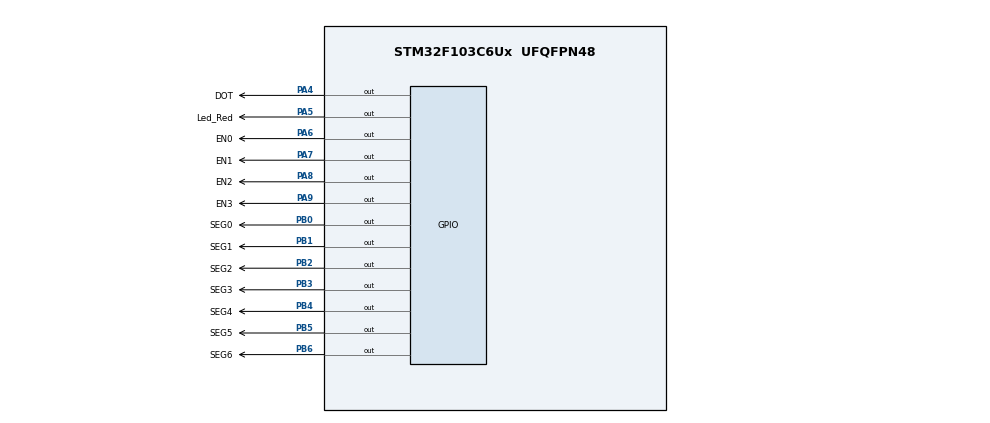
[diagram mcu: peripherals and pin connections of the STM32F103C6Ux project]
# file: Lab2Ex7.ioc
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Mcu.Family=STM32F1
Mcu.Name=STM32F103C6Ux
Mcu.Package=UFQFPN48
NVIC.PriorityGroup=NVIC_PRIORITYGROUP_4
NVIC.TIM2_IRQn=true\:0\:0\:false\:false\:true\:true\:true
PA4.GPIO_Label=DOT
PA4.Signal=GPIO_Output
PA5.GPIO_Label=Led_Red
PA5.Signal=GPIO_Output
PA6.GPIO_Label=EN0
PA6.Signal=GPIO_Output
PA7.GPIO_Label=EN1
PA7.Signal=GPIO_Output
PA8.GPIO_Label=EN2
PA8.Signal=GPIO_Output
PA9.GPIO_Label=EN3
PA9.Signal=GPIO_Output
PB0.GPIO_Label=SEG0
PB0.Signal=GPIO_Output
PB1.GPIO_Label=SEG1
PB1.Signal=GPIO_Output
PB2.GPIO_Label=SEG2
PB2.Signal=GPIO_Output
PB3.GPIO_Label=SEG3
PB3.Signal=GPIO_Output
PB4.GPIO_Label=SEG4
PB4.Signal=GPIO_Output
PB5.GPIO_Label=SEG5
PB5.Signal=GPIO_Output
PB6.GPIO_Label=SEG6
PB6.Signal=GPIO_Output
ProjectManager.HeapSize=0x200
ProjectManager.StackSize=0x400
ProjectManager.TargetToolchain=STM32CubeIDE
RCC.APB1Freq_Value=8000000
RCC.APB2Freq_Value=8000000
TIM2.Period=9
TIM2.Prescaler=7999
VP_SYS_VS_ND.Mode=No_Debug
VP_TIM2_VS_ClockSourceINT.Mode=Internal
board=custom

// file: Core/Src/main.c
/* USER CODE BEGIN Header */
/**
  ******************************************************************************
  * @file           : main.c
  * @brief          : Main program body
  ******************************************************************************
  * @attention
  *
  * <h2><center>&copy; Copyright (c) 2026 STMicroelectronics.
  * All rights reserved.</center></h2>
  *
  * This software component is licensed by ST under BSD 3-Clause license,
  * the "License"; You may not use this file except in compliance with the
  * License. You may obtain a copy of the License at:
  *                        opensource.org/licenses/BSD-3-Clause
  *
  ******************************************************************************
  */
/* USER CODE END Header */
#include "main.h"

TIM_HandleTypeDef htim2;

void SystemClock_Config(void);
static void MX_GPIO_Init(void);
static void MX_TIM2_Init(void);

/* USER CODE BEGIN 0 */
void display7SEG(int num)
{
    switch (num)
    {
    case 0:
        HAL_GPIO_WritePin(GPIOB, SEG0_Pin, GPIO_PIN_RESET);
        HAL_GPIO_WritePin(GPIOB, SEG1_Pin, GPIO_PIN_RESET);
        HAL_GPIO_WritePin(GPIOB, SEG2_Pin, GPIO_PIN_RESET);
        HAL_GPIO_WritePin(GPIOB, SEG3_Pin, GPIO_PIN_RESET);
        HAL_GPIO_WritePin(GPIOB, SEG4_Pin, GPIO_PIN_RESET);
        HAL_GPIO_WritePin(GPIOB, SEG5_Pin, GPIO_PIN_RESET);
        HAL_GPIO_WritePin(GPIOB, SEG6_Pin, GPIO_PIN_SET);
        break;

    case 1:
        HAL_GPIO_WritePin(GPIOB, SEG0_Pin, GPIO_PIN_SET);
        HAL_GPIO_WritePin(GPIOB, SEG1_Pin, GPIO_PIN_RESET);
        HAL_GPIO_WritePin(GPIOB, SEG2_Pin, GPIO_PIN_RESET);
        HAL_GPIO_WritePin(GPIOB, SEG3_Pin, GPIO_PIN_SET);
        HAL_GPIO_WritePin(GPIOB, SEG4_Pin, GPIO_PIN_SET);
        HAL_GPIO_WritePin(GPIOB, SEG5_Pin, GPIO_PIN_SET);
        HAL_GPIO_WritePin(GPIOB, SEG6_Pin, GPIO_PIN_SET);
        break;

    case 2:
        HAL_GPIO_WritePin(GPIOB, SEG0_Pin, GPIO_PIN_RESET);
        HAL_GPIO_WritePin(GPIOB, SEG1_Pin, GPIO_PIN_RESET);
        HAL_GPIO_WritePin(GPIOB, SEG2_Pin, GPIO_PIN_SET);
        HAL_GPIO_WritePin(GPIOB, SEG3_Pin, GPIO_PIN_RESET);
        HAL_GPIO_WritePin(GPIOB, SEG4_Pin, GPIO_PIN_RESET);
        HAL_GPIO_WritePin(GPIOB, SEG5_Pin, GPIO_PIN_SET);
        HAL_GPIO_WritePin(GPIOB, SEG6_Pin, GPIO_PIN_RESET);
        break;

    case 3:
        HAL_GPIO_WritePin(GPIOB, SEG0_Pin, GPIO_PIN_RESET);
        HAL_GPIO_WritePin(GPIOB, SEG1_Pin, GPIO_PIN_RESET);
        HAL_GPIO_WritePin(GPIOB, SEG2_Pin, GPIO_PIN_RESET);
        HAL_GPIO_WritePin(GPIOB, SEG3_Pin, GPIO_PIN_RESET);
        HAL_GPIO_WritePin(GPIOB, SEG4_Pin, GPIO_PIN_SET);
        HAL_GPIO_WritePin(GPIOB, SEG5_Pin, GPIO_PIN_SET);
        HAL_GPIO_WritePin(GPIOB, SEG6_Pin, GPIO_PIN_RESET);
        break;

    case 4:
        HAL_GPIO_WritePin(GPIOB, SEG0_Pin, GPIO_PIN_SET);
        HAL_GPIO_WritePin(GPIOB, SEG1_Pin, GPIO_PIN_RESET);
        HAL_GPIO_WritePin(GPIOB, SEG2_Pin, GPIO_PIN_RESET);
        HAL_GPIO_WritePin(GPIOB, SEG3_Pin, GPIO_PIN_SET);
        HAL_GPIO_WritePin(GPIOB, SEG4_Pin, GPIO_PIN_SET);
        HAL_GPIO_WritePin(GPIOB, SEG5_Pin, GPIO_PIN_RESET);
        HAL_GPIO_WritePin(GPIOB, SEG6_Pin, GPIO_PIN_RESET);
        break;

    case 5:
        HAL_GPIO_WritePin(GPIOB, SEG0_Pin, GPIO_PIN_RESET);
        HAL_GPIO_WritePin(GPIOB, SEG1_Pin, GPIO_PIN_SET);
        HAL_GPIO_WritePin(GPIOB, SEG2_Pin, GPIO_PIN_RESET);
        HAL_GPIO_WritePin(GPIOB, SEG3_Pin, GPIO_PIN_RESET);
        HAL_GPIO_WritePin(GPIOB, SEG4_Pin, GPIO_PIN_SET);
        HAL_GPIO_WritePin(GPIOB, SEG5_Pin, GPIO_PIN_RESET);
        HAL_GPIO_WritePin(GPIOB, SEG6_Pin, GPIO_PIN_RESET);
        break;

    case 6:
        HAL_GPIO_WritePin(GPIOB, SEG0_Pin, GPIO_PIN_RESET);
        HAL_GPIO_WritePin(GPIOB, SEG1_Pin, GPIO_PIN_SET);
        HAL_GPIO_WritePin(GPIOB, SEG2_Pin, GPIO_PIN_RESET);
        HAL_GPIO_WritePin(GPIOB, SEG3_Pin, GPIO_PIN_RESET);
        HAL_GPIO_WritePin(GPIOB, SEG4_Pin, GPIO_PIN_RESET);
        HAL_GPIO_WritePin(GPIOB, SEG5_Pin, GPIO_PIN_RESET);
        HAL_GPIO_WritePin(GPIOB, SEG6_Pin, GPIO_PIN_RESET);
        break;

    case 7:
        HAL_GPIO_WritePin(GPIOB, SEG0_Pin, GPIO_PIN_RESET);
        HAL_GPIO_WritePin(GPIOB, SEG1_Pin, GPIO_PIN_RESET);
        HAL_GPIO_WritePin(GPIOB, SEG2_Pin, GPIO_PIN_RESET);
        HAL_GPIO_WritePin(GPIOB, SEG3_Pin, GPIO_PIN_SET);
        HAL_GPIO_WritePin(GPIOB, SEG4_Pin, GPIO_PIN_SET);
        HAL_GPIO_WritePin(GPIOB, SEG5_Pin, GPIO_PIN_SET);
        HAL_GPIO_WritePin(GPIOB, SEG6_Pin, GPIO_PIN_SET);
        break;

    case 8:
        HAL_GPIO_WritePin(GPIOB, SEG0_Pin, GPIO_PIN_RESET);
        HAL_GPIO_WritePin(GPIOB, SEG1_Pin, GPIO_PIN_RESET);
        HAL_GPIO_WritePin(GPIOB, SEG2_Pin, GPIO_PIN_RESET);
        HAL_GPIO_WritePin(GPIOB, SEG3_Pin, GPIO_PIN_RESET);
        HAL_GPIO_WritePin(GPIOB, SEG4_Pin, GPIO_PIN_RESET);
        HAL_GPIO_WritePin(GPIOB, SEG5_Pin, GPIO_PIN_RESET);
        HAL_GPIO_WritePin(GPIOB, SEG6_Pin, GPIO_PIN_RESET);
        break;

    case 9:
        HAL_GPIO_WritePin(GPIOB, SEG0_Pin, GPIO_PIN_RESET);
        HAL_GPIO_WritePin(GPIOB, SEG1_Pin, GPIO_PIN_RESET);
        HAL_GPIO_WritePin(GPIOB, SEG2_Pin, GPIO_PIN_RESET);
        HAL_GPIO_WritePin(GPIOB, SEG3_Pin, GPIO_PIN_RESET);
        HAL_GPIO_WritePin(GPIOB, SEG4_Pin, GPIO_PIN_SET);
        HAL_GPIO_WritePin(GPIOB, SEG5_Pin, GPIO_PIN_RESET);
        HAL_GPIO_WritePin(GPIOB, SEG6_Pin, GPIO_PIN_RESET);
        break;
    }
}
const int MAX_LED = 4;

int index_led = 0;

int led_buffer[4] = {1, 2, 3, 4};
void update7SEG(int index)
{
    // Turn off all 4 displays first
    HAL_GPIO_WritePin(GPIOA, EN0_Pin, GPIO_PIN_SET);
    HAL_GPIO_WritePin(GPIOA, EN1_Pin, GPIO_PIN_SET);
    HAL_GPIO_WritePin(GPIOA, EN2_Pin, GPIO_PIN_SET);
    HAL_GPIO_WritePin(GPIOA, EN3_Pin, GPIO_PIN_SET);

    switch (index)
    {
        case 0:
            display7SEG(led_buffer[0]);
            HAL_GPIO_WritePin(GPIOA, EN0_Pin, GPIO_PIN_RESET);
            break;

        case 1:
            display7SEG(led_buffer[1]);
            HAL_GPIO_WritePin(GPIOA, EN1_Pin, GPIO_PIN_RESET);
            break;

        case 2:
            display7SEG(led_buffer[2]);
            HAL_GPIO_WritePin(GPIOA, EN2_Pin, GPIO_PIN_RESET);
            break;

        case 3:
            display7SEG(led_buffer[3]);
            HAL_GPIO_WritePin(GPIOA, EN3_Pin, GPIO_PIN_RESET);
            break;

        default:
            break;
    }
}

int hour = 15, minute = 8, second = 50;

void updateClockBuffer(void)
{
    led_buffer[0] = hour / 10;
    led_buffer[1] = hour % 10;
    led_buffer[2] = minute / 10;
    led_buffer[3] = minute % 10;
}

int timer0_counter = 0;
int timer0_flag = 0;
int TIMER_CYCLE = 10;

void setTimer0(int duration)
{
    timer0_counter = duration / TIMER_CYCLE;
    timer0_flag = 0;
}

void timer_run()
{
    if (timer0_counter > 0)
    {
        timer0_counter--;

        if (timer0_counter == 0)
            timer0_flag = 1;
    }
}
/* USER CODE END 0 */

int main(void)
{

  /* MCU Configuration--------------------------------------------------------*/

  /* Reset of all peripherals, Initializes the Flash interface and the Systick. */
  HAL_Init();

  /* Configure the system clock */
  SystemClock_Config();

  /* Initialize all configured peripherals */
  MX_GPIO_Init();
  MX_TIM2_Init();
  /* USER CODE BEGIN 2 */
  HAL_TIM_Base_Start_IT(&htim2);
  /* USER CODE END 2 */

  /* Infinite loop */
  /* USER CODE BEGIN WHILE */
  setTimer0(1000);
  while (1)
  {
	  if (timer0_flag == 1)
	  {
		  second++;

		  if (second >= 60)
		  {
			  second = 0;
			  minute++;
		  }

		  if (minute >= 60)
		  {
			  minute = 0;
			  hour++;
		  }

		  if (hour >= 24)
		  {
			  hour = 0;
		  }

		  updateClockBuffer();

		  HAL_GPIO_TogglePin(GPIOA, DOT_Pin);

		  setTimer0(1000);
	  }
  }
  /* USER CODE END 3 */
}

void SystemClock_Config(void)
{
  RCC_OscInitTypeDef RCC_OscInitStruct = {0};
  RCC_ClkInitTypeDef RCC_ClkInitStruct = {0};

  /** Initializes the RCC Oscillators according to the specified parameters
  * in the RCC_OscInitTypeDef structure.
  */
  RCC_OscInitStruct.OscillatorType = RCC_OSCILLATORTYPE_HSI;
  RCC_OscInitStruct.HSIState = RCC_HSI_ON;
  RCC_OscInitStruct.HSICalibrationValue = RCC_HSICALIBRATION_DEFAULT;
  RCC_OscInitStruct.PLL.PLLState = RCC_PLL_NONE;
  if (HAL_RCC_OscConfig(&RCC_OscInitStruct) != HAL_OK)
  {
    Error_Handler();
  }
  /** Initializes the CPU, AHB and APB buses clocks
  */
  RCC_ClkInitStruct.ClockType = RCC_CLOCKTYPE_HCLK|RCC_CLOCKTYPE_SYSCLK
                              |RCC_CLOCKTYPE_PCLK1|RCC_CLOCKTYPE_PCLK2;
  RCC_ClkInitStruct.SYSCLKSource = RCC_SYSCLKSOURCE_HSI;
  RCC_ClkInitStruct.AHBCLKDivider = RCC_SYSCLK_DIV1;
  RCC_ClkInitStruct.APB1CLKDivider = RCC_HCLK_DIV1;
  RCC_ClkInitStruct.APB2CLKDivider = RCC_HCLK_DIV1;

  if (HAL_RCC_ClockConfig(&RCC_ClkInitStruct, FLASH_LATENCY_0) != HAL_OK)
  {
    Error_Handler();
  }
}

static void MX_TIM2_Init(void)
{

  TIM_ClockConfigTypeDef sClockSourceConfig = {0};
  TIM_MasterConfigTypeDef sMasterConfig = {0};

  htim2.Instance = TIM2;
  htim2.Init.Prescaler = 7999;
  htim2.Init.CounterMode = TIM_COUNTERMODE_UP;
  htim2.Init.Period = 9;
  htim2.Init.ClockDivision = TIM_CLOCKDIVISION_DIV1;
  htim2.Init.AutoReloadPreload = TIM_AUTORELOAD_PRELOAD_DISABLE;
  if (HAL_TIM_Base_Init(&htim2) != HAL_OK)
  {
    Error_Handler();
  }
  sClockSourceConfig.ClockSource = TIM_CLOCKSOURCE_INTERNAL;
  if (HAL_TIM_ConfigClockSource(&htim2, &sClockSourceConfig) != HAL_OK)
  {
    Error_Handler();
  }
  sMasterConfig.MasterOutputTrigger = TIM_TRGO_RESET;
  sMasterConfig.MasterSlaveMode = TIM_MASTERSLAVEMODE_DISABLE;
  if (HAL_TIMEx_MasterConfigSynchronization(&htim2, &sMasterConfig) != HAL_OK)
  {
    Error_Handler();
  }

}

static void MX_GPIO_Init(void)
{
  GPIO_InitTypeDef GPIO_InitStruct = {0};

  /* GPIO Ports Clock Enable */
  __HAL_RCC_GPIOA_CLK_ENABLE();
  __HAL_RCC_GPIOB_CLK_ENABLE();

  /*Configure GPIO pin Output Level */
  HAL_GPIO_WritePin(GPIOA, DOT_Pin|Led_Red_Pin|EN0_Pin|EN1_Pin
                          |EN2_Pin|EN3_Pin, GPIO_PIN_RESET);

  /*Configure GPIO pin Output Level */
  HAL_GPIO_WritePin(GPIOB, SEG0_Pin|SEG1_Pin|SEG2_Pin|SEG3_Pin
                          |SEG4_Pin|SEG5_Pin|SEG6_Pin, GPIO_PIN_RESET);

  /*Configure GPIO pins : DOT_Pin Led_Red_Pin EN0_Pin EN1_Pin
                           EN2_Pin EN3_Pin */
  GPIO_InitStruct.Pin = DOT_Pin|Led_Red_Pin|EN0_Pin|EN1_Pin
                          |EN2_Pin|EN3_Pin;
  GPIO_InitStruct.Mode = GPIO_MODE_OUTPUT_PP;
  GPIO_InitStruct.Pull = GPIO_NOPULL;
  GPIO_InitStruct.Speed = GPIO_SPEED_FREQ_LOW;
  HAL_GPIO_Init(GPIOA, &GPIO_InitStruct);

  /*Configure GPIO pins : SEG0_Pin SEG1_Pin SEG2_Pin SEG3_Pin
                           SEG4_Pin SEG5_Pin SEG6_Pin */
  GPIO_InitStruct.Pin = SEG0_Pin|SEG1_Pin|SEG2_Pin|SEG3_Pin
                          |SEG4_Pin|SEG5_Pin|SEG6_Pin;
  GPIO_InitStruct.Mode = GPIO_MODE_OUTPUT_PP;
  GPIO_InitStruct.Pull = GPIO_NOPULL;
  GPIO_InitStruct.Speed = GPIO_SPEED_FREQ_LOW;
  HAL_GPIO_Init(GPIOB, &GPIO_InitStruct);

}

/* USER CODE BEGIN 4 */
int counter7SEG = 50;   // 500 ms
int counterLED  = 100;  // 1 second
int display = 0;

void HAL_TIM_PeriodElapsedCallback(TIM_HandleTypeDef *htim)
{
	timer_run();

	static int counter7SEG = 0;
    //static int counterDOT = 0;

    counter7SEG++;

    if (counter7SEG >= 25)
    {
        counter7SEG = 0;

        update7SEG(index_led++);

        if (index_led >= MAX_LED)
        {
            index_led = 0;
        }
    }

    //counterDOT++;

    /*if (counterDOT >= 100)
    {
        counterDOT = 0;

        HAL_GPIO_TogglePin(GPIOA, DOT_Pin);
    }*/
}
void Error_Handler(void)
{
  __disable_irq();
  while (1)
  {
  }
}

/************************ (C) COPYRIGHT STMicroelectronics *****END OF FILE****/
